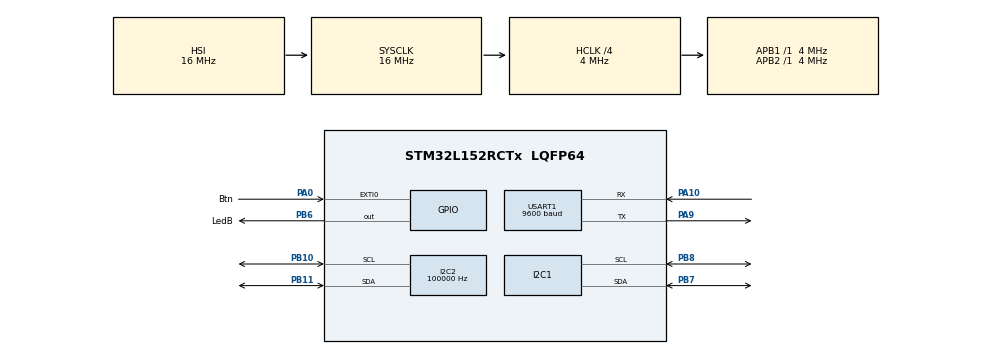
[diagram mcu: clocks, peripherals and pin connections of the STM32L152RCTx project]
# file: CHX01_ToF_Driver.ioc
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I2C2.ClockSpeed=100000
I2C2.I2C_Mode=I2C_Standard
Mcu.Family=STM32L1
Mcu.Name=STM32L152RCTx
Mcu.Package=LQFP64
NVIC.EXTI0_IRQn=true\:0\:0\:false\:false\:true\:true\:true
NVIC.I2C1_EV_IRQn=true\:0\:0\:false\:false\:true\:true\:true
NVIC.I2C2_EV_IRQn=true\:0\:0\:false\:false\:true\:true\:true
NVIC.PriorityGroup=NVIC_PRIORITYGROUP_4
PA0-WKUP1.GPIO_Label=Btn
PA0-WKUP1.Signal=GPXTI0
PA10.Mode=Asynchronous
PA10.Signal=USART1_RX
PA13.Mode=Serial_Wire
PA13.Signal=SYS_JTMS-SWDIO
PA14.Mode=Serial_Wire
PA14.Signal=SYS_JTCK-SWCLK
PA9.Mode=Asynchronous
PA9.Signal=USART1_TX
PB10.Mode=I2C
PB10.Signal=I2C2_SCL
PB11.Mode=I2C
PB11.Signal=I2C2_SDA
PB6.GPIO_Label=LedB
PB6.Signal=GPIO_Output
PB7.Mode=I2C
PB7.Signal=I2C1_SDA
PB8.Mode=I2C
PB8.Signal=I2C1_SCL
ProjectManager.HeapSize=0x200
ProjectManager.StackSize=0x400
ProjectManager.TargetToolchain=STM32CubeIDE
RCC.48MHZClocksFreq_Value=32000000
RCC.AHBCLKDivider=RCC_SYSCLK_DIV4
RCC.AHBFreq_Value=4000000
RCC.APB1Freq_Value=4000000
RCC.APB1TimFreq_Value=4000000
RCC.APB2Freq_Value=4000000
RCC.APB2TimFreq_Value=4000000
RCC.HCLKFreq_Value=4000000
RCC.HSE_VALUE=24000000
RCC.HSI_VALUE=16000000
RCC.LSE_VALUE=32768
RCC.MSI_VALUE=2097000
RCC.PLLMUL=RCC_PLL_MUL4
RCC.SYSCLKFreq_VALUE=16000000
RCC.SYSCLKSource=RCC_SYSCLKSOURCE_HSI
RCC.VCOOutputFreq_Value=64000000
USART1.BaudRate=9600
USART1.VirtualMode=VM_ASYNC
VP_TIM4_VS_ClockSourceINT.Mode=Internal
board=custom

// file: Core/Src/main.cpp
/* USER CODE BEGIN Header */
/**
  ******************************************************************************
  * @file           : main.c
  * @brief          : Main program body
  ******************************************************************************
  * @attention
  *
  * <h2><center>&copy; Copyright (c) 2024 STMicroelectronics.
  * All rights reserved.</center></h2>
  *
  * This software component is licensed by ST under BSD 3-Clause license,
  * the "License"; You may not use this file except in compliance with the
  * License. You may obtain a copy of the License at:
  *                        opensource.org/licenses/BSD-3-Clause
  *
  ******************************************************************************
  */
/* USER CODE END Header */
#include "main.h"
#include "i2c.h"
#include "tim.h"
#include "usart.h"
#include "gpio.h"

/* USER CODE BEGIN Includes */

// Chirp stuff
#include <stdio.h>
#include <string.h>
#include <cmath>
//#include "class/cdc/cdc_device.h"
#include "Chirp/usr_def.h"
#include "Chirp/constant.h"
#include "Chirp/ch_lib.h"
#include "Chirp/usr_bsp.h"

#include "CHX01ToF.h"

/* USER CODE END Includes */

void SystemClock_Config(void);

/* USER CODE BEGIN 0 */

// Chirp

#define MEAS_BUF_SIZE            (10u)	/* Median calculate buffer */

#define SENSOR_TYPE         (CHIRP_TYPE_CH101)
#define RANGE_LIMIT_UPPER   (320.0)
#define RANGE_LIMIT_LOWER   (10.0)
#define AMP_MAX             (30000u)

typedef float float32_t;

typedef struct {
	float32_t   range;				// from ch_get_range()
	uint16_t	amplitude;			// from ch_get_amplitude()
	uint16_t	reserved;			// alignment */
} stMeasResult_t;

#define	MMODE_MOFMOF		(0U)
#define	MMODE_DISTANCE		(1U)
static	uint8_t	sMeasureMode = MMODE_DISTANCE;

stMeasResult_t	sMdn_buf[MEAS_BUF_SIZE];
uint8_t			sMdn_widx;
uint8_t			sMdn_cnt;

void	execute_cmd( uint8_t cmdcode );

float32_t	measure_mof( chirp_result_t *ch_result );
float32_t	measure_dist( chirp_result_t *ch_result );

void	clrMedian( void );
int8_t	calcMedian(stMeasResult_t *onemeas, float32_t *range, uint16_t *amp);

int __io_putchar(int ch)
{
 // Write character to ITM ch.0
 ITM_SendChar(ch);
 return(ch);
}

//float32_t dist = 0.0;
/* USER CODE END 0 */

int main(void)
{

  /* MCU Configuration--------------------------------------------------------*/

  /* Reset of all peripherals, Initializes the Flash interface and the Systick. */
  HAL_Init();

  /* Configure the system clock */
  SystemClock_Config();

  /* Initialize all configured peripherals */
  MX_GPIO_Init();
  MX_I2C2_Init();
  MX_I2C1_Init();
  MX_TIM4_Init();
  MX_USART1_UART_Init();
  /* USER CODE BEGIN 2 */

  for (uint8_t i = 1; i < 128; ++i) {	// I2C scan

	  if (HAL_I2C_IsDeviceReady(&hi2c2, i << 1, 1, 100)) {
		  HAL_Delay(10);
		  HAL_GPIO_WritePin(LedB_GPIO_Port, LedB_Pin, GPIO_PIN_SET);
//		  break;
	  }
  }
//  HAL_Delay(500);

  // Chirp Stuff
  chirp_result_t  ch_result;

  int8_t       	ret_ch = RET_NG;

  // My init

//  GpioStm32L1 RST_PIN(GPIO_PORT_B_3NFW, 12);
//
//  GpioStm32L1 PROG_PIN(GPIO_PORT_B_3NFW, 13);
//  GpioStm32L1 INT_PIN(GPIO_PORT_B_3NFW, 14);
//  GpioStm32L1 DIR_PIN(GPIO_PORT_B_3NFW, 15);

//  CHX01_ToF tof(&i2c_com, &RST_PIN, &PROG_PIN, &INT_PIN, &DIR_PIN, EXTI15_10_IRQn, GPIO_PIN_14);
//  tof.init(1, 500, 50, -0.416, 1.26);
  tof.init(1, 500, 50, 0.0);
  tof.setFilterConstant(0.3);
  HAL_Delay(500);
//  int8_t	ret;
//  ret = CH_API_Init(SENSOR_TYPE);
//  ret = CH_API_Config(CH_MODE_FREERUN, 500, 50);
////  CH_API_Config(CH_MODE_FREERUN, 500, 400);
//   if (ret == RET_OK) {
//      DEBUG_PRINT_STR("\nConfiguration is succeeded\n");
//   } else {
//      DEBUG_PRINT_STR("\nConfiguration is failed\n");
//   }
//   CH_API_MeasStart();
  HAL_GPIO_WritePin(LedB_GPIO_Port, LedB_Pin, GPIO_PIN_RESET);
  float dist;
  /* USER CODE END 2 */

  /* Infinite loop */
  /* USER CODE BEGIN WHILE */
  while (1)
  {

        //Get result if data is ready
//        ret_ch = CH_API_GetResult(&ch_result);
//		if ( ret_ch != RET_FINISH ){
//			continue;
//		} else { /* else nothing */ }
//
//		if ( ch_result.range == CH_NO_TARGET ){
//			// DEBUG_PRINT_STR("no target found\n");
//			dist = ch_result.range;
//			continue;
//		} else { /* else nothing */ }
//
//		switch( sMeasureMode ){
//		case MMODE_MOFMOF:
//			dist = measure_mof( &ch_result );
//			break;
//		case MMODE_DISTANCE:
//		default:
//			dist = measure_dist( &ch_result );
//			break;
//		}
//		CH_API_MeasStop();

//	  	dist = tof.readDist(DIST_UNIT_CM);
	  	dist = tof.readDistMedian(DIST_UNIT_CM, 20, 50);
//	  	dist = tof.readDistAverage(DIST_UNIT_CM, 10, 10);

//		static float last = dist;
////		float alpha = fabs(dist - last) > 5.0 ? 0.5 : 0.05; // Tuning value
//		float alpha = 0.01;
//		last = last*(1.0 - alpha) + dist * alpha;

	  	uint8_t buf[30];
//	  	sprintf((char*)buf, "dist: %.2fcm | %.2fcm\n", dist, last);
//	  	sprintf((char*)buf, "dist: %.2fcm\n", dist);
	  	sprintf((char*)buf, "%.2f\n", dist);
	  	HAL_UART_Transmit(&huart1, buf, strlen((char*)buf), HAL_MAX_DELAY);

		HAL_Delay(50);

    /* USER CODE END WHILE */

  }
}

void SystemClock_Config(void)
{
  RCC_OscInitTypeDef RCC_OscInitStruct = {0};
  RCC_ClkInitTypeDef RCC_ClkInitStruct = {0};

  /** Configure the main internal regulator output voltage
  */
  __HAL_PWR_VOLTAGESCALING_CONFIG(PWR_REGULATOR_VOLTAGE_SCALE1);
  /** Initializes the RCC Oscillators according to the specified parameters
  * in the RCC_OscInitTypeDef structure.
  */
  RCC_OscInitStruct.OscillatorType = RCC_OSCILLATORTYPE_HSI;
  RCC_OscInitStruct.HSIState = RCC_HSI_ON;
  RCC_OscInitStruct.HSICalibrationValue = RCC_HSICALIBRATION_DEFAULT;
  RCC_OscInitStruct.PLL.PLLState = RCC_PLL_NONE;
  if (HAL_RCC_OscConfig(&RCC_OscInitStruct) != HAL_OK)
  {
    Error_Handler();
  }
  /** Initializes the CPU, AHB and APB buses clocks
  */
  RCC_ClkInitStruct.ClockType = RCC_CLOCKTYPE_HCLK|RCC_CLOCKTYPE_SYSCLK
                              |RCC_CLOCKTYPE_PCLK1|RCC_CLOCKTYPE_PCLK2;
  RCC_ClkInitStruct.SYSCLKSource = RCC_SYSCLKSOURCE_HSI;
  RCC_ClkInitStruct.AHBCLKDivider = RCC_SYSCLK_DIV4;
  RCC_ClkInitStruct.APB1CLKDivider = RCC_HCLK_DIV1;
  RCC_ClkInitStruct.APB2CLKDivider = RCC_HCLK_DIV1;

  if (HAL_RCC_ClockConfig(&RCC_ClkInitStruct, FLASH_LATENCY_0) != HAL_OK)
  {
    Error_Handler();
  }
}

/* USER CODE BEGIN 4 */

/*=========================================================================================
 * \brief	command execution
 * \param	uint8_t cmdcode
 * \return	void
============================================================================================*/
void execute_cmd( uint8_t cmdcode )
{
//	int8_t	ret;
//
//	switch( cmdcode ){
//	case SEN_CMDCODE_STOP: /* \r */
//		// DEBUG_PRINT_STR("---------------------------------------\n");
//	    CH_API_MeasStop();
//		break;
//	case SEN_CMDCODE_SET: /* set */
//		// DEBUG_PRINT_STR("---------------------------------------\n");
//        (void)CH_API_Init(SENSOR_TYPE);
//		break;
//	case SEN_CMDCODE_MOF: /* mof */
//		sMeasureMode = MMODE_MOFMOF;
//		ret = CH_API_Config(CH_MODE_FREERUN, 500, 400);
//        if (ret == RET_OK) {
//        	// DEBUG_PRINT_STR("\nConfiguration is succeeded\n");
//		} else {
//			// DEBUG_PRINT_STR("\nConfiguration is failed\n");
//		}
//		CH_API_MeasStart();
//		break;
//	case SEN_CMDCODE_DIST:	/* dist */
//		sMeasureMode = MMODE_DISTANCE;
//		ret = CH_API_Config(CH_MODE_FREERUN, 500, 400);
//		if (ret == RET_OK) {
//			// DEBUG_PRINT_STR("\nConfiguration is succeeded\n");
//		} else {
//			// DEBUG_PRINT_STR("\nConfiguration is failed\n");
//		}
//		CH_API_MeasStart();
//		break;
//	case SEN_CMDCODE_CLR:
//		clrMedian( );
//        // DEBUG_PRINT_STR("Data Buffer is cleared\n");
//		break;
//	default: /* include SEN_CMDCODE_UNKNOWN */
//		break;
//	}
//	return;
}

/*=========================================================================================
 * \brief	measure softness
 * \param	chirp_result_t *   measurement result
 * \return	void
============================================================================================*/
float32_t measure_mof( chirp_result_t *ch_result )
{
    float32_t meas_range   = 0.0f;
    float32_t median_range = -1.0f;
    uint16_t  median_amp   = 0;
    float32_t softness     = 0.0f;

	stMeasResult_t	onemeas;
	int8_t	data_count;

	meas_range = ((float32_t)ch_result->range)/32.0f;
	if(meas_range >= RANGE_LIMIT_UPPER){
		// DEBUG_PRINT_STR("too far \n");	/* Not included in median calculation */
	}
	else if (meas_range < RANGE_LIMIT_LOWER){
		// DEBUG_PRINT_STR("too near\n");	/* Not included in median calculation */
	}
	else{
		onemeas.range = meas_range;
		onemeas.amplitude = ((ch_result->amplitude > AMP_MAX) ? AMP_MAX : (ch_result->amplitude) );
		data_count = calcMedian( &onemeas , &median_range, &median_amp );
		if ( data_count < 0 ){
//			DEBUG_PRINTF("%d data is measured, need %d more data\n", (data_count*(-1)), ((int8_t)MEAS_BUF_SIZE - (data_count*(-1))) );
		}else{
			softness = ( ((float32_t)AMP_MAX - (float32_t)median_amp)/(float32_t)AMP_MAX ) * (float32_t)100;
//			DEBUG_PRINTF("Range: %0.1f mm  Amp: %u  Softness: %0.1f%%\n", median_range, median_amp, softness);
		}
	}
	return softness;
}

/*=========================================================================================
 * \brief	printf measurement result
 * \param	chirp_result_t *   measurement result
 * \return	void
============================================================================================*/
float32_t measure_dist( chirp_result_t *ch_result )
{
//	DEBUG_PRINTF("Range: %5.1f mm  Amp: %5u\n", ((float32_t)ch_result->range)/32.0f, ch_result->amplitude);
    return ((float32_t)ch_result->range)/3.2;
}

/*=========================================================================================
 * \brief	calculate median value
 * \param	stMeasResult_t*     new data for median value calculation
 *          *range   calculated range
 *          *amp     calculated amp
 * \return	zero
============================================================================================*/
int8_t calcMedian(stMeasResult_t *onemeas, float32_t *range, uint16_t *amp)
{
	uint8_t	i;
	uint8_t	j;
    int8_t ret_code;
	stMeasResult_t tmp;
	stMeasResult_t sort_buf[MEAS_BUF_SIZE];
	uint8_t cnt_meas_buf;

	sMdn_buf[sMdn_widx] = *onemeas;
	sMdn_widx ++;

	if ( sMdn_widx >= MEAS_BUF_SIZE ){
		sMdn_widx = 0;
	}
	if ( sMdn_cnt < MEAS_BUF_SIZE ){
		sMdn_cnt ++;
		ret_code = (int8_t)(sMdn_cnt) * -1;
	}
	else{ /* ( sMdn_cnt == MEAS_BUF_SIZE ) */
		ret_code = (int8_t)sMdn_cnt;

		/* Copy to buffer for sorting  */
		(void)memcpy( sort_buf , sMdn_buf, sizeof(sMdn_buf) );

		/* sort by amplitude */
		for (i=0; i<MEAS_BUF_SIZE; ++i) {
			for (j=i+1u; j< MEAS_BUF_SIZE; ++j) {
				if (sort_buf[i].amplitude > sort_buf[j].amplitude) {
					tmp =  sort_buf[i];
					sort_buf[i] = sort_buf[j];
					sort_buf[j] = tmp;
				}
			}
		}
		cnt_meas_buf = MEAS_BUF_SIZE;
		if ((cnt_meas_buf % 2u) == 0u) {
			*range = (sort_buf[MEAS_BUF_SIZE / 2u].range + sort_buf[(MEAS_BUF_SIZE / 2u) - 1u].range) / 2.0f;
			*amp   = (sort_buf[MEAS_BUF_SIZE / 2u].amplitude + sort_buf[(MEAS_BUF_SIZE / 2u) - 1u].amplitude) / 2u;
		} else {
			*range = sort_buf[MEAS_BUF_SIZE / 2u].range;
			*amp   = sort_buf[MEAS_BUF_SIZE / 2u].amplitude;
		}
	}
	return ( ret_code );
}

/*=========================================================================================
 * \brief	clear buffer for median value calculation
 * \param	void
 * \return	void
============================================================================================*/
void clrMedian( void  )
{
	sMdn_widx = 0;
	sMdn_cnt = 0;
	return;
}

/* USER CODE END 4 */

void Error_Handler(void)
{
  __disable_irq();
  while (1)
  {
  }
}

/************************ (C) COPYRIGHT STMicroelectronics *****END OF FILE****/
